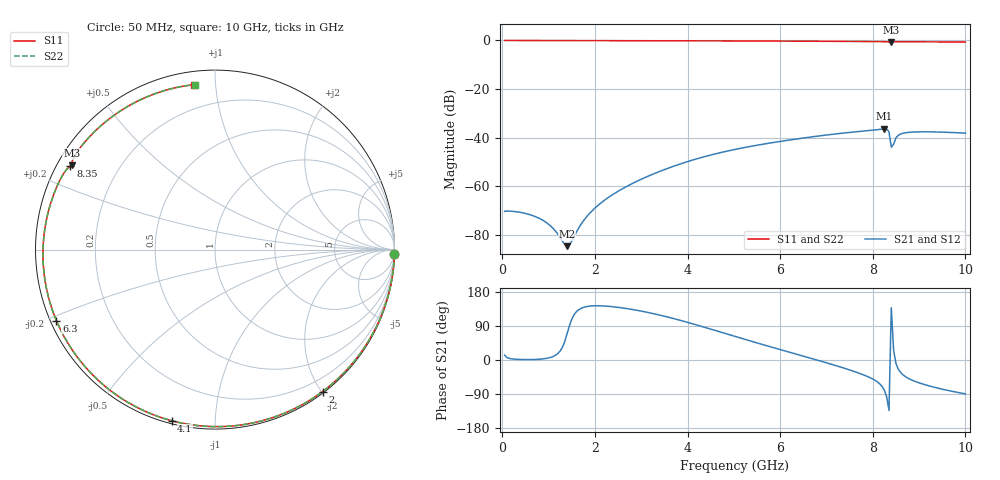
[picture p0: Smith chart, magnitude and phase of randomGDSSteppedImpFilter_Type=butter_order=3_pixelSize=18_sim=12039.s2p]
! freq	dB(S11)	phase(S11)	dB(S12)	phase(S12)
!  dB(S21)	phase(S21)	dB(S22)	phase(S22)
!S-par simulation data
#  GHz  S  DB  R 50
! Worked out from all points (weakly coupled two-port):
!   200 points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, 50 MHz to 10 GHz, reference 50 ohm
!   highest |S21| = -36.33 dB at 8.25 GHz (marker M1); lowest = -84.6 dB at 1.4 GHz (marker M2)
!   lowest |S11| = -0.7 dB at 8.4 GHz (marker M3), VSWR 25.97, Z = 2.07 + j13.6 ohm
!   |S11| at or under -10 dB: nowhere
!   |S22| runs from -0.7 to 0.0 dB; largest |S21 - S12| = 0
!   S11 on the Smith chart (normalised r, x): 50 MHz: 0, -84; 2 GHz: 0.02, -2.01; 4.1 GHz: 0.01, -0.78; 6.3 GHz: 0.02, -0.21; 8.35 GHz: 0.04, +0.27; 10 GHz: 0.07, +0.88
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0.05  -0.00 -1.4  -70.29 13.0  -70.29 13.0  -0.00 -1.4
0.7  -0.02 -18.9  -72.33 1.4  -72.33 1.4  -0.02 -18.9
1  -0.03 -26.8  -75.58 5.5  -75.58 5.5  -0.03 -26.9
1.2  -0.04 -32.1  -79.66 17.2  -79.66 17.2  -0.04 -32.1
1.4  -0.05 -37.4  -84.59 69.4  -84.59 69.4  -0.05 -37.4
1.55  -0.05 -41.3  -80.62 119.5  -80.62 119.5  -0.05 -41.3
1.75  -0.06 -46.4  -74.23 138.7  -74.23 138.7  -0.06 -46.5
2  -0.07 -52.8  -68.93 143.1  -68.93 143.1  -0.07 -52.9
2.6  -0.09 -68.0  -60.92 137.3  -60.92 137.3  -0.09 -68.0
3.4  -0.12 -87.6  -53.84 118.5  -53.84 118.5  -0.12 -87.6
4.1  -0.14 -104.2  -49.23 95.9  -49.23 95.9  -0.14 -104.3
5.05  -0.19 -126.4  -44.71 61.2  -44.71 61.2  -0.19 -126.5
6.3  -0.28 -155.9  -40.66 17.2  -40.66 17.2  -0.28 -156.0
6.7  -0.32 -165.6  -39.60 3.3  -39.60 3.3  -0.32 -165.7
7.5  -0.39 174.0  -37.81 -26.2  -37.81 -26.2  -0.39 173.9
8.25  -0.51 153.0  -36.33 -79.7  -36.33 -79.7  -0.51 152.9
8.35  -0.63 150.1  -37.62 -133.3  -37.62 -133.3  -0.64 149.9
8.4  -0.67 149.5  -43.89 137.9  -43.89 137.9  -0.67 149.4
8.55  -0.53 145.1  -39.01 -23.9  -39.01 -23.9  -0.53 145.0
8.7  -0.53 140.4  -37.97 -43.5  -37.97 -43.5  -0.53 140.3
9.4  -0.60 117.9  -37.64 -74.2  -37.64 -74.2  -0.60 117.8
10  -0.67 97.2  -38.10 -89.4  -38.10 -89.4  -0.67 97.0
